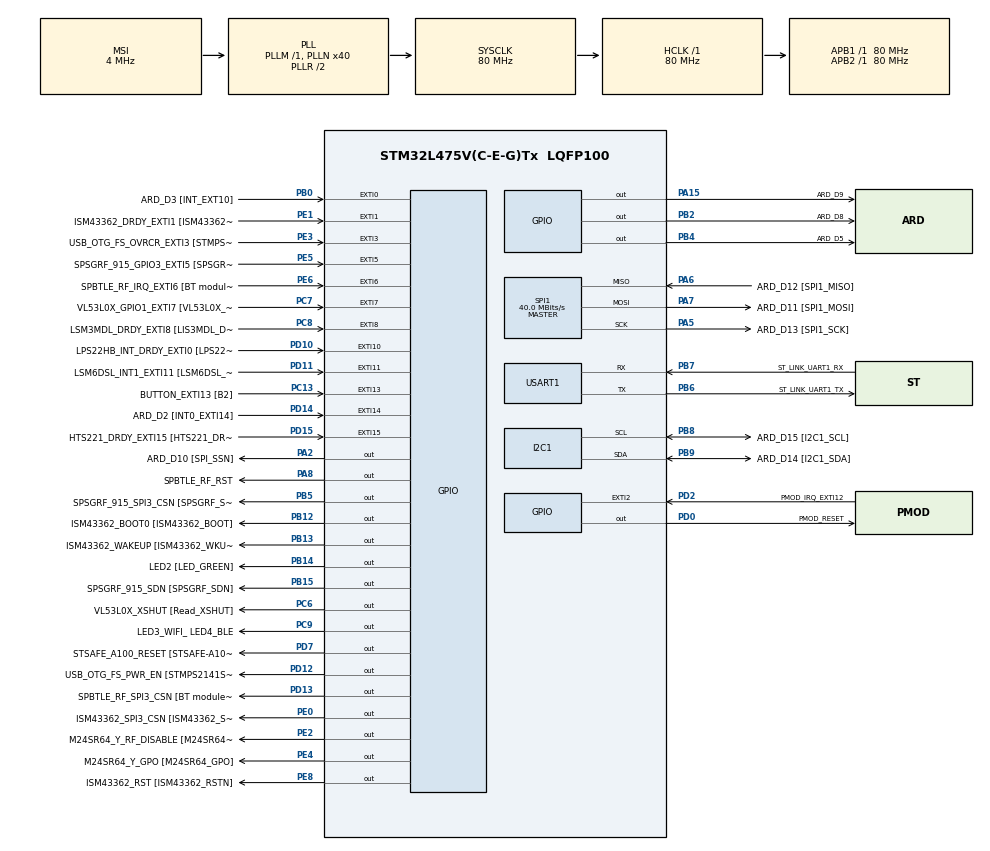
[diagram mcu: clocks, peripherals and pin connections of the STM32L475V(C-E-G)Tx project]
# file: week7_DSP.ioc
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I2C1.Timing=0x10D19CE4
Mcu.Family=STM32L4
Mcu.Name=STM32L475V(C-E-G)Tx
Mcu.Package=LQFP100
NVIC.EXTI15_10_IRQn=true\:0\:0\:false\:false\:true\:true\:true\:true
NVIC.EXTI9_5_IRQn=true\:0\:0\:false\:false\:true\:true\:true\:true
NVIC.PriorityGroup=NVIC_PRIORITYGROUP_4
PA0.GPIO_Label=ARD_D1 [UART4_TX]
PA0.Signal=UART4_TX
PA1.GPIO_Label=ARD_D0 [UART4_RX]
PA1.Signal=UART4_RX
PA10.GPIO_Label=USB_OTG_FS_ID
PA10.Signal=USB_OTG_FS_ID
PA11.GPIO_Label=USB_OTG_FS_DM
PA11.Signal=USB_OTG_FS_DM
PA12.GPIO_Label=USB_OTG_FS_DP
PA12.Signal=USB_OTG_FS_DP
PA13\ (JTMS-SWDIO).GPIO_Label=SYS_JTMS_SWDIO
PA13\ (JTMS-SWDIO).Signal=SYS_JTMS-SWDIO
PA14\ (JTCK-SWCLK).GPIO_Label=SYS_JTCK_SWCLK
PA14\ (JTCK-SWCLK).Signal=SYS_JTCK-SWCLK
PA15\ (JTDI).GPIO_Label=ARD_D9
PA15\ (JTDI).Signal=GPIO_Output
PA2.GPIO_Label=ARD_D10 [SPI_SSN]
PA2.Signal=GPIO_Output
PA3.GPIO_Label=ARD_D4
PA3.Signal=S_TIM2_CH4
PA4.GPIO_Label=ARD_D7
PA4.Signal=ADCx_IN9
PA5.GPIO_Label=ARD_D13 [SPI1_SCK]
PA5.Mode=Full_Duplex_Master
PA5.Signal=SPI1_SCK
PA6.GPIO_Label=ARD_D12 [SPI1_MISO]
PA6.Mode=Full_Duplex_Master
PA6.Signal=SPI1_MISO
PA7.GPIO_Label=ARD_D11 [SPI1_MOSI]
PA7.Mode=Full_Duplex_Master
PA7.Signal=SPI1_MOSI
PA8.GPIO_Label=SPBTLE_RF_RST
PA8.Signal=GPIO_Output
PA9.GPIO_Label=USB_OTG_FS_VBUS [STMPS2141STR_OUT]
PA9.Signal=USB_OTG_FS_VBUS
PB0.GPIO_Label=ARD_D3 [INT_EXT10]
PB0.Signal=GPXTI0
PB1.GPIO_Label=ARD_D6 [ADC1_IN6]
PB1.Signal=ADCx_IN16
PB10.GPIO_Label=INTERNAL_I2C2_SCL [VL53L0X_SCL]
PB10.Signal=I2C2_SCL
PB11.GPIO_Label=INTERNAL_I2C2_SDA [VL53L0X_SDA]
PB11.Signal=I2C2_SDA
PB12.GPIO_Label=ISM43362_BOOT0 [ISM43362_BOOT]
PB12.Signal=GPIO_Output
PB13.GPIO_Label=ISM43362_WAKEUP [ISM43362_WKUP]
PB13.Signal=GPIO_Output
PB14.GPIO_Label=LED2 [LED_GREEN]
PB14.Signal=GPIO_Output
PB15.GPIO_Label=SPSGRF_915_SDN [SPSGRF_SDN]
PB15.Signal=GPIO_Output
PB2.GPIO_Label=ARD_D8
PB2.Signal=GPIO_Output
PB3\ (JTDO-TRACESWO).GPIO_Label=SYS_JTD0_SWO
PB3\ (JTDO-TRACESWO).Signal=SYS_JTDO-SWO
PB4\ (NJTRST).GPIO_Label=ARD_D5
PB4\ (NJTRST).Signal=GPIO_Output
PB5.GPIO_Label=SPSGRF_915_SPI3_CSN [SPSGRF_SPI_CS]
PB5.PinState=GPIO_PIN_SET
PB5.Signal=GPIO_Output
PB6.GPIO_Label=ST_LINK_UART1_TX
PB6.Mode=Asynchronous
PB6.Signal=USART1_TX
PB7.GPIO_Label=ST_LINK_UART1_RX
PB7.Mode=Asynchronous
PB7.Signal=USART1_RX
PB8.GPIO_Label=ARD_D15 [I2C1_SCL]
PB8.Mode=I2C
PB8.Signal=I2C1_SCL
PB9.GPIO_Label=ARD_D14 [I2C1_SDA]
PB9.Mode=I2C
PB9.Signal=I2C1_SDA
PC0.GPIO_Label=ARD_A5 [ADC]
PC0.Signal=ADCx_IN1
PC1.GPIO_Label=ARD_A4 [ADC]
PC1.Signal=ADCx_IN2
PC10.GPIO_Label=INTERNAL_SPI3_SCK [BT module_SPI_SCLK] [ISM43362_SCK]
PC10.Signal=SPI3_SCK
PC11.GPIO_Label=INTERNAL_SPI3_MISO [BT module_SPI_MISO] [ISM43362_MISO]
PC11.Signal=SPI3_MISO
PC12.GPIO_Label=INTERNAL_SPI3_MOSI [BT module_SPI_MOSI] [ISM43362_MOSI]
PC12.Signal=SPI3_MOSI
PC13.GPIO_Label=BUTTON_EXTI13 [B2]
PC13.GPIO_ModeDefaultEXTI=GPIO_MODE_IT_FALLING
PC13.Signal=GPXTI13
PC14-OSC32_IN\ (PC14).Signal=RCC_OSC32_IN
PC15-OSC32_OUT\ (PC15).Signal=RCC_OSC32_OUT
PC2.GPIO_Label=ARD_A3 [ADC]
PC2.Signal=ADCx_IN3
PC3.GPIO_Label=ARD_A2 [ADC]
PC3.Signal=ADCx_IN4
PC4.GPIO_Label=ARD_A1 [ADC]
PC4.Signal=ADCx_IN13
PC5.GPIO_Label=ARD_A0 [ADC]
PC5.Signal=ADCx_IN14
PC6.GPIO_Label=VL53L0X_XSHUT [Read_XSHUT]
PC6.Signal=GPIO_Output
PC7.GPIO_Label=VL53L0X_GPIO1_EXTI7 [VL53L0X_GPIO1]
PC7.Signal=GPXTI7
PC8.GPIO_Label=LSM3MDL_DRDY_EXTI8 [LIS3MDL_DRDY]
PC8.Signal=GPXTI8
PC9.GPIO_Label=LED3_WIFI_ LED4_BLE
PC9.Signal=GPIO_Output
PD0.GPIO_Label=PMOD_RESET
PD0.Signal=GPIO_Output
PD1.GPIO_Label=PMOD_SPI2_SCK
PD1.Signal=SPI2_SCK
PD10.GPIO_Label=LPS22HB_INT_DRDY_EXTI0 [LPS22HB_INT_DRDY] 
PD10.Signal=GPXTI10
PD11.GPIO_Label=LSM6DSL_INT1_EXTI11 [LSM6DSL_INT1]
PD11.Signal=GPXTI11
PD12.GPIO_Label=USB_OTG_FS_PWR_EN [STMPS2141STR_EN]
PD12.Signal=GPIO_Output
PD13.GPIO_Label=SPBTLE_RF_SPI3_CSN [BT module_SPI_CS]
PD13.PinState=GPIO_PIN_SET
PD13.Signal=GPIO_Output
PD14.GPIO_Label=ARD_D2 [INT0_EXTI14]
PD14.Signal=GPXTI14
PD15.GPIO_Label=HTS221_DRDY_EXTI15 [HTS221_DRDY]
PD15.Signal=GPXTI15
PD2.GPIO_Label=PMOD_IRQ_EXTI12
PD2.Signal=GPXTI2
PD3.GPIO_Label=PMOD_UART2_CTS
PD3.Signal=USART2_CTS
PD4.GPIO_Label=PMOD_UART2_RTS
PD4.Signal=USART2_RTS
PD5.GPIO_Label=PMOD_UART2_TX
PD5.Signal=USART2_TX
PD6.GPIO_Label=PMOD_UART2_RX
PD6.Signal=USART2_RX
PD7.GPIO_Label=STSAFE_A100_RESET [STSAFE-A100_RESET]
PD7.Signal=GPIO_Output
PD8.GPIO_Label=INTERNAL_UART3_TX [ISM43362_RX]
PD8.Signal=USART3_TX
PD9.GPIO_Label=INTERNAL_UART3_RX [ISM43362_TX]
PD9.Signal=USART3_RX
PE0.GPIO_Label=ISM43362_SPI3_CSN [ISM43362_SSN]
PE0.PinState=GPIO_PIN_SET
PE0.Signal=GPIO_Output
PE1.GPIO_Label=ISM43362_DRDY_EXTI1 [ISM43362_DATARDY]
PE1.Signal=GPXTI1
PE10.GPIO_Label=QUADSPI_CLK [MX25R6435F_SCLK]
PE10.Signal=QUADSPI_CLK
PE11.GPIO_Label=QUADSPI_NCS [MX25R6435F_SCLK]
PE11.Signal=QUADSPI_NCS
PE12.GPIO_Label=OQUADSPI_BK1_IO0 [MX25R6435F_IO0]
PE12.Signal=QUADSPI_BK1_IO0
PE13.GPIO_Label=QUADSPI_BK1_IO1 [MX25R6435F_IO1]
PE13.Signal=QUADSPI_BK1_IO1
PE14.GPIO_Label=QUAD_SPI_BK1_IO2 [MX25R6435F_IO2]
PE14.Signal=QUADSPI_BK1_IO2
PE15.GPIO_Label=QUAD_SPI_BK1_IO3 [MX25R6435F_IO3]
PE15.Signal=QUADSPI_BK1_IO3
PE2.GPIO_Label=M24SR64_Y_RF_DISABLE [M24SR64_RFDIS]
PE2.Signal=GPIO_Output
PE3.GPIO_Label=USB_OTG_FS_OVRCR_EXTI3 [STMPS2141STR_FAULT]
PE3.Signal=GPXTI3
PE4.GPIO_Label=M24SR64_Y_GPO [M24SR64_GPO]
PE4.Signal=GPIO_Output
PE5.GPIO_Label=SPSGRF_915_GPIO3_EXTI5 [SPSGRF_GPIO_3]
PE5.Signal=GPXTI5
PE6.GPIO_Label=SPBTLE_RF_IRQ_EXTI6 [BT module_SPI_IRQ]
PE6.Signal=GPXTI6
PE7.GPIO_Label=DFSDM1_DATIN2 [MP34DT01_DOUT]
PE7.Signal=S_DATAIN2DFSDM1
PE8.GPIO_Label=ISM43362_RST [ISM43362_RSTN]
PE8.Signal=GPIO_Output
PE9.GPIO_Label=DFSDM1_CKOUT [MP34DT01_CLK]
PE9.Signal=S_CKOUTDFSDM1
ProjectManager.HeapSize=0x200
ProjectManager.StackSize=0x400
ProjectManager.TargetToolchain=STM32CubeIDE
RCC.ADCFreq_Value=48000000
RCC.AHBFreq_Value=80000000
RCC.APB1Freq_Value=80000000
RCC.APB1TimFreq_Value=80000000
RCC.APB2Freq_Value=80000000
RCC.APB2TimFreq_Value=80000000
RCC.CortexFreq_Value=80000000
RCC.HCLKFreq_Value=80000000
RCC.HSE_VALUE=8000000
RCC.HSI_VALUE=16000000
RCC.LSE_VALUE=32768
RCC.MSI_VALUE=4000000
RCC.PLLN=40
RCC.PLLSAI1N=24
RCC.SYSCLKFreq_VALUE=80000000
RCC.SYSCLKSource=RCC_SYSCLKSOURCE_PLLCLK
RCC.USBFreq_Value=48000000
RCC.VCOOutputFreq_Value=160000000
SH.ADCx_IN1.0=ADC1_IN1
SH.ADCx_IN13.0=ADC1_IN13
SH.ADCx_IN14.0=ADC1_IN14
SH.ADCx_IN16.0=ADC1_IN16
SH.ADCx_IN2.0=ADC1_IN2
SH.ADCx_IN3.0=ADC1_IN3
SH.ADCx_IN4.0=ADC1_IN4
SH.ADCx_IN9.0=ADC1_IN9
SH.S_CKOUTDFSDM1.0=DFSDM1_CKOUT
SH.S_DATAIN2DFSDM1.0=DFSDM1_DATIN2
SH.S_TIM2_CH4.0=TIM2_CH4
SPI1.CalculateBaudRate=40.0 MBits/s
SPI1.Direction=SPI_DIRECTION_2LINES
SPI1.Mode=SPI_MODE_MASTER
SPI1.VirtualType=VM_MASTER
USART1.VirtualMode-Asynchronous=VM_ASYNC
board=B-L475E-IOT01A2

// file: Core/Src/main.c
/* USER CODE BEGIN Header */
/**
  ******************************************************************************
  * @file           : main.c
  * @brief          : Main program body
  ******************************************************************************
  * @attention
  *
  * Copyright (c) 2025 STMicroelectronics.
  * All rights reserved.
  *
  * This software is licensed under terms that can be found in the LICENSE file
  * in the root directory of this software component.
  * If no LICENSE file comes with this software, it is provided AS-IS.
  *
  ******************************************************************************
  */
/* USER CODE END Header */
#include "main.h"

/* USER CODE BEGIN Includes */

#include "arm_math.h"
#include "math_helper.h"

/* USER CODE END Includes */

/* USER CODE BEGIN PD */

#define TEST_LENGTH_SAMPLES  320
#define SNR_THRESHOLD_F32    140.0f
#define BLOCK_SIZE            32
#define NUM_TAPS              29

/* USER CODE END PD */

I2C_HandleTypeDef hi2c1;

SPI_HandleTypeDef hspi1;

UART_HandleTypeDef huart1;

/* USER CODE BEGIN PV */

int16_t pDataXYZ[3];
float raw_data_buff[32];
float filtered_buff[32];
float raw_plot[512];
float filtered_plot[512];

/* -------------------------------------------------------------------
 * The input signal and reference output (computed with MATLAB)
 * are defined externally in arm_fir_lpf_data.c.
 * ------------------------------------------------------------------- */

extern float32_t testInput_f32_1kHz_15kHz[TEST_LENGTH_SAMPLES];
extern float32_t refOutput[TEST_LENGTH_SAMPLES];

/* -------------------------------------------------------------------
 * Declare Test output buffer
 * ------------------------------------------------------------------- */

static float32_t testOutput[TEST_LENGTH_SAMPLES];

/* -------------------------------------------------------------------
 * Declare State buffer of size (numTaps + blockSize - 1)
 * ------------------------------------------------------------------- */

static float32_t firStateF32[BLOCK_SIZE + NUM_TAPS - 1];

/* ----------------------------------------------------------------------
** FIR Coefficients buffer generated using fir1() MATLAB function.
** fir1(28, 6/24)
** ------------------------------------------------------------------- */

const float32_t firCoeffs32[NUM_TAPS] = {
  -0.0018225230f, -0.0015879294f, +0.0000000000f, +0.0036977508f, +0.0080754303f, +0.0085302217f, -0.0000000000f, -0.0173976984f,
  -0.0341458607f, -0.0333591565f, +0.0000000000f, +0.0676308395f, +0.1522061835f, +0.2229246956f, +0.2504960933f, +0.2229246956f,
  +0.1522061835f, +0.0676308395f, +0.0000000000f, -0.0333591565f, -0.0341458607f, -0.0173976984f, -0.0000000000f, +0.0085302217f,
  +0.0080754303f, +0.0036977508f, +0.0000000000f, -0.0015879294f, -0.0018225230f
};

/* ------------------------------------------------------------------
 * Global variables for FIR LPF Example
 * ------------------------------------------------------------------- */

uint32_t blockSize = BLOCK_SIZE;
uint32_t numBlocks = TEST_LENGTH_SAMPLES/BLOCK_SIZE;

float32_t  snr;
int plot_flag = 0;

/* USER CODE END PV */

void SystemClock_Config(void);
static void MX_GPIO_Init(void);
static void MX_USART1_UART_Init(void);
static void MX_I2C1_Init(void);
static void MX_SPI1_Init(void);
/* USER CODE BEGIN PFP */

int __io_putchar(int ch){
	HAL_UART_Transmit(&huart1, (uint8_t *)&ch, 1, 0xFFFF);
	return ch;
}

void arm_fir_init_f32(
		arm_fir_instance_f32 * S,
        uint16_t numTaps,
  const float32_t * pCoeffs,
        float32_t * pState,
        uint32_t blockSize)
{
  /* Assign filter taps */
  S->numTaps = numTaps;

  /* Assign coefficient pointer */
  S->pCoeffs = pCoeffs;

  /* Clear state buffer and the size of state buffer is (blockSize + numTaps - 1) */
  memset(pState, 0, (numTaps + (blockSize - 1u)) * sizeof(float32_t));

  /* Assign state pointer */
  S->pState = pState;

}

void arm_fir_f32(
		  const arm_fir_instance_f32 * S,
		  const float32_t * pSrc,
		        float32_t * pDst,
		        uint32_t blockSize)
{
   float32_t *pState = S->pState;                 /* State pointer */
   float32_t *pCoeffs = S->pCoeffs;               /* Coefficient pointer */
   float32_t *pStateCurnt;                        /* Points to the current sample of the state */
   float32_t *px, *pb;                            /* Temporary pointers for state and coefficient buffers */
   float32_t acc0, acc1, acc2, acc3, acc4, acc5, acc6, acc7;     /* Accumulators */
   float32_t x0, x1, x2, x3, x4, x5, x6, x7, c0;  /* Temporary variables to hold state and coefficient values */
   uint32_t numTaps = S->numTaps;                 /* Number of filter coefficients in the filter */
   uint32_t i, tapCnt, blkCnt;                    /* Loop counters */

   /* S->pState points to state array which contains previous frame (numTaps - 1) samples */
   /* pStateCurnt points to the location where the new input data should be written */
   pStateCurnt = &(S->pState[(numTaps - 1u)]);

   /* Apply loop unrolling and compute 8 output values simultaneously.
    * The variables acc0 ... acc7 hold output values that are being computed:
    *
    *    acc0 =  b[numTaps-1] * x[n-numTaps-1] + b[numTaps-2] * x[n-numTaps-2] + b[numTaps-3] * x[n-numTaps-3] +...+ b[0] * x[0]
    *    acc1 =  b[numTaps-1] * x[n-numTaps] +   b[numTaps-2] * x[n-numTaps-1] + b[numTaps-3] * x[n-numTaps-2] +...+ b[0] * x[1]
    *    acc2 =  b[numTaps-1] * x[n-numTaps+1] + b[numTaps-2] * x[n-numTaps] +   b[numTaps-3] * x[n-numTaps-1] +...+ b[0] * x[2]
    *    acc3 =  b[numTaps-1] * x[n-numTaps+2] + b[numTaps-2] * x[n-numTaps+1] + b[numTaps-3] * x[n-numTaps]   +...+ b[0] * x[3]
    */
   blkCnt = blockSize >> 3;

   /* First part of the processing with loop unrolling.  Compute 8 outputs at a time.
   ** a second loop below computes the remaining 1 to 7 samples. */
   while(blkCnt > 0u)
   {
      /* Copy four new input samples into the state buffer */
      *pStateCurnt++ = *pSrc++;
      *pStateCurnt++ = *pSrc++;
      *pStateCurnt++ = *pSrc++;
      *pStateCurnt++ = *pSrc++;

      /* Set all accumulators to zero */
      acc0 = 0.0f;
      acc1 = 0.0f;
      acc2 = 0.0f;
      acc3 = 0.0f;
      acc4 = 0.0f;
      acc5 = 0.0f;
      acc6 = 0.0f;
      acc7 = 0.0f;

      /* Initialize state pointer */
      px = pState;

      /* Initialize coeff pointer */
      pb = (pCoeffs);

      /* This is separated from the others to avoid
       * a call to __aeabi_memmove which would be slower
       */
      *pStateCurnt++ = *pSrc++;
      *pStateCurnt++ = *pSrc++;
      *pStateCurnt++ = *pSrc++;
      *pStateCurnt++ = *pSrc++;

      /* Read the first seven samples from the state buffer:  x[n-numTaps], x[n-numTaps-1], x[n-numTaps-2] */
      x0 = *px++;
      x1 = *px++;
      x2 = *px++;
      x3 = *px++;
      x4 = *px++;
      x5 = *px++;
      x6 = *px++;

      /* Loop unrolling.  Process 8 taps at a time. */
      tapCnt = numTaps >> 3u;

      /* Loop over the number of taps.  Unroll by a factor of 8.
       ** Repeat until we've computed numTaps-8 coefficients. */
      while(tapCnt > 0u)
      {
         /* Read the b[numTaps-1] coefficient */
         c0 = *(pb++);

         /* Read x[n-numTaps-3] sample */
         x7 = *(px++);

         /* acc0 +=  b[numTaps-1] * x[n-numTaps] */
         acc0 += x0 * c0;

         /* acc1 +=  b[numTaps-1] * x[n-numTaps-1] */
         acc1 += x1 * c0;

         /* acc2 +=  b[numTaps-1] * x[n-numTaps-2] */
         acc2 += x2 * c0;

         /* acc3 +=  b[numTaps-1] * x[n-numTaps-3] */
         acc3 += x3 * c0;

         /* acc4 +=  b[numTaps-1] * x[n-numTaps-4] */
         acc4 += x4 * c0;

         /* acc1 +=  b[numTaps-1] * x[n-numTaps-5] */
         acc5 += x5 * c0;

         /* acc2 +=  b[numTaps-1] * x[n-numTaps-6] */
         acc6 += x6 * c0;

         /* acc3 +=  b[numTaps-1] * x[n-numTaps-7] */
         acc7 += x7 * c0;

         /* Read the b[numTaps-2] coefficient */
         c0 = *(pb++);

         /* Read x[n-numTaps-4] sample */
         x0 = *(px++);

         /* Perform the multiply-accumulate */
         acc0 += x1 * c0;
         acc1 += x2 * c0;
         acc2 += x3 * c0;
         acc3 += x4 * c0;
         acc4 += x5 * c0;
         acc5 += x6 * c0;
         acc6 += x7 * c0;
         acc7 += x0 * c0;

         /* Read the b[numTaps-3] coefficient */
         c0 = *(pb++);

         /* Read x[n-numTaps-5] sample */
         x1 = *(px++);

         /* Perform the multiply-accumulates */
         acc0 += x2 * c0;
         acc1 += x3 * c0;
         acc2 += x4 * c0;
         acc3 += x5 * c0;
         acc4 += x6 * c0;
         acc5 += x7 * c0;
         acc6 += x0 * c0;
         acc7 += x1 * c0;

         /* Read the b[numTaps-4] coefficient */
         c0 = *(pb++);

         /* Read x[n-numTaps-6] sample */
         x2 = *(px++);

         /* Perform the multiply-accumulates */
         acc0 += x3 * c0;
         acc1 += x4 * c0;
         acc2 += x5 * c0;
         acc3 += x6 * c0;
         acc4 += x7 * c0;
         acc5 += x0 * c0;
         acc6 += x1 * c0;
         acc7 += x2 * c0;

         /* Read the b[numTaps-4] coefficient */
         c0 = *(pb++);

         /* Read x[n-numTaps-6] sample */
         x3 = *(px++);
         /* Perform the multiply-accumulates */
         acc0 += x4 * c0;
         acc1 += x5 * c0;
         acc2 += x6 * c0;
         acc3 += x7 * c0;
         acc4 += x0 * c0;
         acc5 += x1 * c0;
         acc6 += x2 * c0;
         acc7 += x3 * c0;

         /* Read the b[numTaps-4] coefficient */
         c0 = *(pb++);

         /* Read x[n-numTaps-6] sample */
         x4 = *(px++);

         /* Perform the multiply-accumulates */
         acc0 += x5 * c0;
         acc1 += x6 * c0;
         acc2 += x7 * c0;
         acc3 += x0 * c0;
         acc4 += x1 * c0;
         acc5 += x2 * c0;
         acc6 += x3 * c0;
         acc7 += x4 * c0;

         /* Read the b[numTaps-4] coefficient */
         c0 = *(pb++);

         /* Read x[n-numTaps-6] sample */
         x5 = *(px++);

         /* Perform the multiply-accumulates */
         acc0 += x6 * c0;
         acc1 += x7 * c0;
         acc2 += x0 * c0;
         acc3 += x1 * c0;
         acc4 += x2 * c0;
         acc5 += x3 * c0;
         acc6 += x4 * c0;
         acc7 += x5 * c0;

         /* Read the b[numTaps-4] coefficient */
         c0 = *(pb++);

         /* Read x[n-numTaps-6] sample */
         x6 = *(px++);

         /* Perform the multiply-accumulates */
         acc0 += x7 * c0;
         acc1 += x0 * c0;
         acc2 += x1 * c0;
         acc3 += x2 * c0;
         acc4 += x3 * c0;
         acc5 += x4 * c0;
         acc6 += x5 * c0;
         acc7 += x6 * c0;

         tapCnt--;
      }

      /* If the filter length is not a multiple of 8, compute the remaining filter taps */
      tapCnt = numTaps % 0x8u;

      while(tapCnt > 0u)
      {
         /* Read coefficients */
         c0 = *(pb++);

         /* Fetch 1 state variable */
         x7 = *(px++);

         /* Perform the multiply-accumulates */
         acc0 += x0 * c0;
         acc1 += x1 * c0;
         acc2 += x2 * c0;
         acc3 += x3 * c0;
         acc4 += x4 * c0;
         acc5 += x5 * c0;
         acc6 += x6 * c0;
         acc7 += x7 * c0;

         /* Reuse the present sample states for next sample */
         x0 = x1;
         x1 = x2;
         x2 = x3;
         x3 = x4;
         x4 = x5;
         x5 = x6;
         x6 = x7;

         /* Decrement the loop counter */
         tapCnt--;
      }

      /* Advance the state pointer by 8 to process the next group of 8 samples */
      pState = pState + 8;

      /* The results in the 8 accumulators, store in the destination buffer. */
      *pDst++ = acc0;
      *pDst++ = acc1;
      *pDst++ = acc2;
      *pDst++ = acc3;
      *pDst++ = acc4;
      *pDst++ = acc5;
      *pDst++ = acc6;
      *pDst++ = acc7;

      blkCnt--;
   }

   /* If the blockSize is not a multiple of 8, compute any remaining output samples here.
   ** No loop unrolling is used. */
   blkCnt = blockSize % 0x8u;

   while(blkCnt > 0u)
   {
      /* Copy one sample at a time into state buffer */
      *pStateCurnt++ = *pSrc++;

      /* Set the accumulator to zero */
      acc0 = 0.0f;

      /* Initialize state pointer */
      px = pState;

      /* Initialize Coefficient pointer */
      pb = (pCoeffs);

      i = numTaps;

      /* Perform the multiply-accumulates */
      do
      {
         acc0 += *px++ * *pb++;
         i--;

      } while(i > 0u);

      /* The result is store in the destination buffer. */
      *pDst++ = acc0;

      /* Advance state pointer by 1 for the next sample */
      pState = pState + 1;

      blkCnt--;
   }

   /* Processing is complete.
   ** Now copy the last numTaps - 1 samples to the start of the state buffer.
   ** This prepares the state buffer for the next function call. */

   /* Points to the start of the state buffer */
   pStateCurnt = S->pState;

   tapCnt = (numTaps - 1u) >> 2u;

   /* copy data */
   while(tapCnt > 0u)
   {
      *pStateCurnt++ = *pState++;
      *pStateCurnt++ = *pState++;
      *pStateCurnt++ = *pState++;
      *pStateCurnt++ = *pState++;

      /* Decrement the loop counter */
      tapCnt--;
   }

   /* Calculate remaining number of copies */
   tapCnt = (numTaps - 1u) % 0x4u;

   /* Copy the remaining q31_t data */
   while(tapCnt > 0u)
   {
      *pStateCurnt++ = *pState++;

      /* Decrement the loop counter */
      tapCnt--;
   }
}

/* USER CODE END PFP */

/* USER CODE BEGIN 0 */
int state = 2;
/* USER CODE END 0 */

int main(void)
{

  /* MCU Configuration--------------------------------------------------------*/

  /* Reset of all peripherals, Initializes the Flash interface and the Systick. */
  HAL_Init();

  /* Configure the system clock */
  SystemClock_Config();

  /* Initialize all configured peripherals */
  MX_GPIO_Init();
  MX_USART1_UART_Init();
  MX_I2C1_Init();
  MX_SPI1_Init();
  /* USER CODE BEGIN 2 */
  uint32_t i;
  arm_fir_instance_f32 S;
  arm_status status;
  float32_t  *inputF32, *outputF32;

  /* Initialize input and output buffer pointers */
  inputF32 = &testInput_f32_1kHz_15kHz[0];
  outputF32 = &testOutput[0];

  /* Call FIR init function to initialize the instance structure. */
  arm_fir_init_f32(&S, NUM_TAPS, (float32_t *)&firCoeffs32[0], &firStateF32[0], blockSize);

    /* ----------------------------------------------------------------------
    ** Call the FIR process function for every blockSize samples
    ** ------------------------------------------------------------------- */

  for(i=0; i < numBlocks; i++)
  {
    arm_fir_f32(&S, inputF32 + (i * blockSize), outputF32 + (i * blockSize), blockSize);
  }

  /* ----------------------------------------------------------------------
  ** Compare the generated output against the reference output computed
  ** in MATLAB.
  ** ------------------------------------------------------------------- */

  snr = arm_snr_f32(&refOutput[0], &testOutput[0], TEST_LENGTH_SAMPLES);

  if (snr < SNR_THRESHOLD_F32)
  {
    status = ARM_MATH_TEST_FAILURE;
  }
  else
  {
    status = ARM_MATH_SUCCESS;
  }
  if(status == ARM_MATH_SUCCESS) {
	  state = 0;
	  printf("success\n");
  }
  else {
	  state = 1;
	  printf("failed\n");
  }

  BSP_ACCELERO_Init();

  /* USER CODE END 2 */

  /* Infinite loop */
  while (1)
  {

    /* USER CODE BEGIN 3 */
	  for(int i = 0; i < 32; ++i){
		  BSP_ACCELERO_AccGetXYZ(pDataXYZ);
		  raw_data_buff[i] = pDataXYZ[0];
		  HAL_Delay(100);
	  }
//	  BSP_ACCELERO_AccGetXYZ(pDataXYZ);
//	  printf("HI\n");
	  arm_fir_f32(&S, raw_data_buff, filtered_buff, blockSize);
	  if(plot_flag < 16){
		  for(int j = 0; j<32; ++j){
			  raw_plot[plot_flag * 32 + j] = raw_data_buff[j];
			  filtered_plot[plot_flag * 32 + j] = filtered_buff[j];
		  }
		  ++plot_flag;
	  }

//	  HAL_Delay(100);
  }
  /* USER CODE END 3 */
}

void SystemClock_Config(void)
{
  RCC_OscInitTypeDef RCC_OscInitStruct = {0};
  RCC_ClkInitTypeDef RCC_ClkInitStruct = {0};

  /** Configure the main internal regulator output voltage
  */
  if (HAL_PWREx_ControlVoltageScaling(PWR_REGULATOR_VOLTAGE_SCALE1) != HAL_OK)
  {
    Error_Handler();
  }

  /** Initializes the RCC Oscillators according to the specified parameters
  * in the RCC_OscInitTypeDef structure.
  */
  RCC_OscInitStruct.OscillatorType = RCC_OSCILLATORTYPE_MSI;
  RCC_OscInitStruct.MSIState = RCC_MSI_ON;
  RCC_OscInitStruct.MSICalibrationValue = 0;
  RCC_OscInitStruct.MSIClockRange = RCC_MSIRANGE_6;
  RCC_OscInitStruct.PLL.PLLState = RCC_PLL_ON;
  RCC_OscInitStruct.PLL.PLLSource = RCC_PLLSOURCE_MSI;
  RCC_OscInitStruct.PLL.PLLM = 1;
  RCC_OscInitStruct.PLL.PLLN = 40;
  RCC_OscInitStruct.PLL.PLLP = RCC_PLLP_DIV7;
  RCC_OscInitStruct.PLL.PLLQ = RCC_PLLQ_DIV2;
  RCC_OscInitStruct.PLL.PLLR = RCC_PLLR_DIV2;
  if (HAL_RCC_OscConfig(&RCC_OscInitStruct) != HAL_OK)
  {
    Error_Handler();
  }

  /** Initializes the CPU, AHB and APB buses clocks
  */
  RCC_ClkInitStruct.ClockType = RCC_CLOCKTYPE_HCLK|RCC_CLOCKTYPE_SYSCLK
                              |RCC_CLOCKTYPE_PCLK1|RCC_CLOCKTYPE_PCLK2;
  RCC_ClkInitStruct.SYSCLKSource = RCC_SYSCLKSOURCE_PLLCLK;
  RCC_ClkInitStruct.AHBCLKDivider = RCC_SYSCLK_DIV1;
  RCC_ClkInitStruct.APB1CLKDivider = RCC_HCLK_DIV1;
  RCC_ClkInitStruct.APB2CLKDivider = RCC_HCLK_DIV1;

  if (HAL_RCC_ClockConfig(&RCC_ClkInitStruct, FLASH_LATENCY_4) != HAL_OK)
  {
    Error_Handler();
  }
}

static void MX_I2C1_Init(void)
{

  hi2c1.Instance = I2C1;
  hi2c1.Init.Timing = 0x10D19CE4;
  hi2c1.Init.OwnAddress1 = 0;
  hi2c1.Init.AddressingMode = I2C_ADDRESSINGMODE_7BIT;
  hi2c1.Init.DualAddressMode = I2C_DUALADDRESS_DISABLE;
  hi2c1.Init.OwnAddress2 = 0;
  hi2c1.Init.OwnAddress2Masks = I2C_OA2_NOMASK;
  hi2c1.Init.GeneralCallMode = I2C_GENERALCALL_DISABLE;
  hi2c1.Init.NoStretchMode = I2C_NOSTRETCH_DISABLE;
  if (HAL_I2C_Init(&hi2c1) != HAL_OK)
  {
    Error_Handler();
  }

  /** Configure Analogue filter
  */
  if (HAL_I2CEx_ConfigAnalogFilter(&hi2c1, I2C_ANALOGFILTER_ENABLE) != HAL_OK)
  {
    Error_Handler();
  }

  /** Configure Digital filter
  */
  if (HAL_I2CEx_ConfigDigitalFilter(&hi2c1, 0) != HAL_OK)
  {
    Error_Handler();
  }

}

static void MX_SPI1_Init(void)
{

  /* SPI1 parameter configuration*/
  hspi1.Instance = SPI1;
  hspi1.Init.Mode = SPI_MODE_MASTER;
  hspi1.Init.Direction = SPI_DIRECTION_2LINES;
  hspi1.Init.DataSize = SPI_DATASIZE_4BIT;
  hspi1.Init.CLKPolarity = SPI_POLARITY_LOW;
  hspi1.Init.CLKPhase = SPI_PHASE_1EDGE;
  hspi1.Init.NSS = SPI_NSS_SOFT;
  hspi1.Init.BaudRatePrescaler = SPI_BAUDRATEPRESCALER_2;
  hspi1.Init.FirstBit = SPI_FIRSTBIT_MSB;
  hspi1.Init.TIMode = SPI_TIMODE_DISABLE;
  hspi1.Init.CRCCalculation = SPI_CRCCALCULATION_DISABLE;
  hspi1.Init.CRCPolynomial = 7;
  hspi1.Init.CRCLength = SPI_CRC_LENGTH_DATASIZE;
  hspi1.Init.NSSPMode = SPI_NSS_PULSE_ENABLE;
  if (HAL_SPI_Init(&hspi1) != HAL_OK)
  {
    Error_Handler();
  }

}

static void MX_USART1_UART_Init(void)
{

  huart1.Instance = USART1;
  huart1.Init.BaudRate = 115200;
  huart1.Init.WordLength = UART_WORDLENGTH_8B;
  huart1.Init.StopBits = UART_STOPBITS_1;
  huart1.Init.Parity = UART_PARITY_NONE;
  huart1.Init.Mode = UART_MODE_TX_RX;
  huart1.Init.HwFlowCtl = UART_HWCONTROL_NONE;
  huart1.Init.OverSampling = UART_OVERSAMPLING_16;
  huart1.Init.OneBitSampling = UART_ONE_BIT_SAMPLE_DISABLE;
  huart1.AdvancedInit.AdvFeatureInit = UART_ADVFEATURE_NO_INIT;
  if (HAL_UART_Init(&huart1) != HAL_OK)
  {
    Error_Handler();
  }

}

static void MX_GPIO_Init(void)
{
  GPIO_InitTypeDef GPIO_InitStruct = {0};

  /* GPIO Ports Clock Enable */
  __HAL_RCC_GPIOE_CLK_ENABLE();
  __HAL_RCC_GPIOC_CLK_ENABLE();
  __HAL_RCC_GPIOA_CLK_ENABLE();
  __HAL_RCC_GPIOB_CLK_ENABLE();
  __HAL_RCC_GPIOD_CLK_ENABLE();

  /*Configure GPIO pin Output Level */
  HAL_GPIO_WritePin(GPIOE, M24SR64_Y_RF_DISABLE_Pin|M24SR64_Y_GPO_Pin|ISM43362_RST_Pin, GPIO_PIN_RESET);

  /*Configure GPIO pin Output Level */
  HAL_GPIO_WritePin(GPIOA, ARD_D10_Pin|SPBTLE_RF_RST_Pin|ARD_D9_Pin, GPIO_PIN_RESET);

  /*Configure GPIO pin Output Level */
  HAL_GPIO_WritePin(GPIOB, ARD_D8_Pin|ISM43362_BOOT0_Pin|ISM43362_WAKEUP_Pin|LED2_Pin
                          |SPSGRF_915_SDN_Pin|ARD_D5_Pin, GPIO_PIN_RESET);

  /*Configure GPIO pin Output Level */
  HAL_GPIO_WritePin(GPIOD, USB_OTG_FS_PWR_EN_Pin|PMOD_RESET_Pin|STSAFE_A100_RESET_Pin, GPIO_PIN_RESET);

  /*Configure GPIO pin Output Level */
  HAL_GPIO_WritePin(SPBTLE_RF_SPI3_CSN_GPIO_Port, SPBTLE_RF_SPI3_CSN_Pin, GPIO_PIN_SET);

  /*Configure GPIO pin Output Level */
  HAL_GPIO_WritePin(GPIOC, VL53L0X_XSHUT_Pin|LED3_WIFI__LED4_BLE_Pin, GPIO_PIN_RESET);

  /*Configure GPIO pin Output Level */
  HAL_GPIO_WritePin(SPSGRF_915_SPI3_CSN_GPIO_Port, SPSGRF_915_SPI3_CSN_Pin, GPIO_PIN_SET);

  /*Configure GPIO pin Output Level */
  HAL_GPIO_WritePin(ISM43362_SPI3_CSN_GPIO_Port, ISM43362_SPI3_CSN_Pin, GPIO_PIN_SET);

  /*Configure GPIO pins : M24SR64_Y_RF_DISABLE_Pin M24SR64_Y_GPO_Pin ISM43362_RST_Pin ISM43362_SPI3_CSN_Pin */
  GPIO_InitStruct.Pin = M24SR64_Y_RF_DISABLE_Pin|M24SR64_Y_GPO_Pin|ISM43362_RST_Pin|ISM43362_SPI3_CSN_Pin;
  GPIO_InitStruct.Mode = GPIO_MODE_OUTPUT_PP;
  GPIO_InitStruct.Pull = GPIO_NOPULL;
  GPIO_InitStruct.Speed = GPIO_SPEED_FREQ_LOW;
  HAL_GPIO_Init(GPIOE, &GPIO_InitStruct);

  /*Configure GPIO pins : USB_OTG_FS_OVRCR_EXTI3_Pin SPSGRF_915_GPIO3_EXTI5_Pin SPBTLE_RF_IRQ_EXTI6_Pin ISM43362_DRDY_EXTI1_Pin */
  GPIO_InitStruct.Pin = USB_OTG_FS_OVRCR_EXTI3_Pin|SPSGRF_915_GPIO3_EXTI5_Pin|SPBTLE_RF_IRQ_EXTI6_Pin|ISM43362_DRDY_EXTI1_Pin;
  GPIO_InitStruct.Mode = GPIO_MODE_IT_RISING;
  GPIO_InitStruct.Pull = GPIO_NOPULL;
  HAL_GPIO_Init(GPIOE, &GPIO_InitStruct);

  /*Configure GPIO pin : BUTTON_EXTI13_Pin */
  GPIO_InitStruct.Pin = BUTTON_EXTI13_Pin;
  GPIO_InitStruct.Mode = GPIO_MODE_IT_FALLING;
  GPIO_InitStruct.Pull = GPIO_NOPULL;
  HAL_GPIO_Init(BUTTON_EXTI13_GPIO_Port, &GPIO_InitStruct);

  /*Configure GPIO pins : ARD_A5_Pin ARD_A4_Pin ARD_A3_Pin ARD_A2_Pin
                           ARD_A1_Pin ARD_A0_Pin */
  GPIO_InitStruct.Pin = ARD_A5_Pin|ARD_A4_Pin|ARD_A3_Pin|ARD_A2_Pin
                          |ARD_A1_Pin|ARD_A0_Pin;
  GPIO_InitStruct.Mode = GPIO_MODE_ANALOG_ADC_CONTROL;
  GPIO_InitStruct.Pull = GPIO_NOPULL;
  HAL_GPIO_Init(GPIOC, &GPIO_InitStruct);

  /*Configure GPIO pins : ARD_D1_Pin ARD_D0_Pin */
  GPIO_InitStruct.Pin = ARD_D1_Pin|ARD_D0_Pin;
  GPIO_InitStruct.Mode = GPIO_MODE_AF_PP;
  GPIO_InitStruct.Pull = GPIO_NOPULL;
  GPIO_InitStruct.Speed = GPIO_SPEED_FREQ_VERY_HIGH;
  GPIO_InitStruct.Alternate = GPIO_AF8_UART4;
  HAL_GPIO_Init(GPIOA, &GPIO_InitStruct);

  /*Configure GPIO pins : ARD_D10_Pin SPBTLE_RF_RST_Pin ARD_D9_Pin */
  GPIO_InitStruct.Pin = ARD_D10_Pin|SPBTLE_RF_RST_Pin|ARD_D9_Pin;
  GPIO_InitStruct.Mode = GPIO_MODE_OUTPUT_PP;
  GPIO_InitStruct.Pull = GPIO_NOPULL;
  GPIO_InitStruct.Speed = GPIO_SPEED_FREQ_LOW;
  HAL_GPIO_Init(GPIOA, &GPIO_InitStruct);

  /*Configure GPIO pin : ARD_D4_Pin */
  GPIO_InitStruct.Pin = ARD_D4_Pin;
  GPIO_InitStruct.Mode = GPIO_MODE_AF_PP;
  GPIO_InitStruct.Pull = GPIO_NOPULL;
  GPIO_InitStruct.Speed = GPIO_SPEED_FREQ_LOW;
  GPIO_InitStruct.Alternate = GPIO_AF1_TIM2;
  HAL_GPIO_Init(ARD_D4_GPIO_Port, &GPIO_InitStruct);

  /*Configure GPIO pin : ARD_D7_Pin */
  GPIO_InitStruct.Pin = ARD_D7_Pin;
  GPIO_InitStruct.Mode = GPIO_MODE_ANALOG_ADC_CONTROL;
  GPIO_InitStruct.Pull = GPIO_NOPULL;
  HAL_GPIO_Init(ARD_D7_GPIO_Port, &GPIO_InitStruct);

  /*Configure GPIO pin : ARD_D3_Pin */
  GPIO_InitStruct.Pin = ARD_D3_Pin;
  GPIO_InitStruct.Mode = GPIO_MODE_IT_RISING;
  GPIO_InitStruct.Pull = GPIO_NOPULL;
  HAL_GPIO_Init(ARD_D3_GPIO_Port, &GPIO_InitStruct);

  /*Configure GPIO pin : ARD_D6_Pin */
  GPIO_InitStruct.Pin = ARD_D6_Pin;
  GPIO_InitStruct.Mode = GPIO_MODE_ANALOG_ADC_CONTROL;
  GPIO_InitStruct.Pull = GPIO_NOPULL;
  HAL_GPIO_Init(ARD_D6_GPIO_Port, &GPIO_InitStruct);

  /*Configure GPIO pins : ARD_D8_Pin ISM43362_BOOT0_Pin ISM43362_WAKEUP_Pin LED2_Pin
                           SPSGRF_915_SDN_Pin ARD_D5_Pin SPSGRF_915_SPI3_CSN_Pin */
  GPIO_InitStruct.Pin = ARD_D8_Pin|ISM43362_BOOT0_Pin|ISM43362_WAKEUP_Pin|LED2_Pin
                          |SPSGRF_915_SDN_Pin|ARD_D5_Pin|SPSGRF_915_SPI3_CSN_Pin;
  GPIO_InitStruct.Mode = GPIO_MODE_OUTPUT_PP;
  GPIO_InitStruct.Pull = GPIO_NOPULL;
  GPIO_InitStruct.Speed = GPIO_SPEED_FREQ_LOW;
  HAL_GPIO_Init(GPIOB, &GPIO_InitStruct);

  /*Configure GPIO pins : DFSDM1_DATIN2_Pin DFSDM1_CKOUT_Pin */
  GPIO_InitStruct.Pin = DFSDM1_DATIN2_Pin|DFSDM1_CKOUT_Pin;
  GPIO_InitStruct.Mode = GPIO_MODE_AF_PP;
  GPIO_InitStruct.Pull = GPIO_NOPULL;
  GPIO_InitStruct.Speed = GPIO_SPEED_FREQ_LOW;
  GPIO_InitStruct.Alternate = GPIO_AF6_DFSDM1;
  HAL_GPIO_Init(GPIOE, &GPIO_InitStruct);

  /*Configure GPIO pins : QUADSPI_CLK_Pin QUADSPI_NCS_Pin OQUADSPI_BK1_IO0_Pin QUADSPI_BK1_IO1_Pin
                           QUAD_SPI_BK1_IO2_Pin QUAD_SPI_BK1_IO3_Pin */
  GPIO_InitStruct.Pin = QUADSPI_CLK_Pin|QUADSPI_NCS_Pin|OQUADSPI_BK1_IO0_Pin|QUADSPI_BK1_IO1_Pin
                          |QUAD_SPI_BK1_IO2_Pin|QUAD_SPI_BK1_IO3_Pin;
  GPIO_InitStruct.Mode = GPIO_MODE_AF_PP;
  GPIO_InitStruct.Pull = GPIO_NOPULL;
  GPIO_InitStruct.Speed = GPIO_SPEED_FREQ_VERY_HIGH;
  GPIO_InitStruct.Alternate = GPIO_AF10_QUADSPI;
  HAL_GPIO_Init(GPIOE, &GPIO_InitStruct);

  /*Configure GPIO pins : INTERNAL_I2C2_SCL_Pin INTERNAL_I2C2_SDA_Pin */
  GPIO_InitStruct.Pin = INTERNAL_I2C2_SCL_Pin|INTERNAL_I2C2_SDA_Pin;
  GPIO_InitStruct.Mode = GPIO_MODE_AF_OD;
  GPIO_InitStruct.Pull = GPIO_NOPULL;
  GPIO_InitStruct.Speed = GPIO_SPEED_FREQ_VERY_HIGH;
  GPIO_InitStruct.Alternate = GPIO_AF4_I2C2;
  HAL_GPIO_Init(GPIOB, &GPIO_InitStruct);

  /*Configure GPIO pins : INTERNAL_UART3_TX_Pin INTERNAL_UART3_RX_Pin */
  GPIO_InitStruct.Pin = INTERNAL_UART3_TX_Pin|INTERNAL_UART3_RX_Pin;
  GPIO_InitStruct.Mode = GPIO_MODE_AF_PP;
  GPIO_InitStruct.Pull = GPIO_NOPULL;
  GPIO_InitStruct.Speed = GPIO_SPEED_FREQ_VERY_HIGH;
  GPIO_InitStruct.Alternate = GPIO_AF7_USART3;
  HAL_GPIO_Init(GPIOD, &GPIO_InitStruct);

  /*Configure GPIO pins : LPS22HB_INT_DRDY_EXTI0_Pin LSM6DSL_INT1_EXTI11_Pin ARD_D2_Pin HTS221_DRDY_EXTI15_Pin
                           PMOD_IRQ_EXTI12_Pin */
  GPIO_InitStruct.Pin = LPS22HB_INT_DRDY_EXTI0_Pin|LSM6DSL_INT1_EXTI11_Pin|ARD_D2_Pin|HTS221_DRDY_EXTI15_Pin
                          |PMOD_IRQ_EXTI12_Pin;
  GPIO_InitStruct.Mode = GPIO_MODE_IT_RISING;
  GPIO_InitStruct.Pull = GPIO_NOPULL;
  HAL_GPIO_Init(GPIOD, &GPIO_InitStruct);

  /*Configure GPIO pins : USB_OTG_FS_PWR_EN_Pin SPBTLE_RF_SPI3_CSN_Pin PMOD_RESET_Pin STSAFE_A100_RESET_Pin */
  GPIO_InitStruct.Pin = USB_OTG_FS_PWR_EN_Pin|SPBTLE_RF_SPI3_CSN_Pin|PMOD_RESET_Pin|STSAFE_A100_RESET_Pin;
  GPIO_InitStruct.Mode = GPIO_MODE_OUTPUT_PP;
  GPIO_InitStruct.Pull = GPIO_NOPULL;
  GPIO_InitStruct.Speed = GPIO_SPEED_FREQ_LOW;
  HAL_GPIO_Init(GPIOD, &GPIO_InitStruct);

  /*Configure GPIO pins : VL53L0X_XSHUT_Pin LED3_WIFI__LED4_BLE_Pin */
  GPIO_InitStruct.Pin = VL53L0X_XSHUT_Pin|LED3_WIFI__LED4_BLE_Pin;
  GPIO_InitStruct.Mode = GPIO_MODE_OUTPUT_PP;
  GPIO_InitStruct.Pull = GPIO_NOPULL;
  GPIO_InitStruct.Speed = GPIO_SPEED_FREQ_LOW;
  HAL_GPIO_Init(GPIOC, &GPIO_InitStruct);

  /*Configure GPIO pins : VL53L0X_GPIO1_EXTI7_Pin LSM3MDL_DRDY_EXTI8_Pin */
  GPIO_InitStruct.Pin = VL53L0X_GPIO1_EXTI7_Pin|LSM3MDL_DRDY_EXTI8_Pin;
  GPIO_InitStruct.Mode = GPIO_MODE_IT_RISING;
  GPIO_InitStruct.Pull = GPIO_NOPULL;
  HAL_GPIO_Init(GPIOC, &GPIO_InitStruct);

  /*Configure GPIO pin : USB_OTG_FS_VBUS_Pin */
  GPIO_InitStruct.Pin = USB_OTG_FS_VBUS_Pin;
  GPIO_InitStruct.Mode = GPIO_MODE_INPUT;
  GPIO_InitStruct.Pull = GPIO_NOPULL;
  HAL_GPIO_Init(USB_OTG_FS_VBUS_GPIO_Port, &GPIO_InitStruct);

  /*Configure GPIO pins : USB_OTG_FS_ID_Pin USB_OTG_FS_DM_Pin USB_OTG_FS_DP_Pin */
  GPIO_InitStruct.Pin = USB_OTG_FS_ID_Pin|USB_OTG_FS_DM_Pin|USB_OTG_FS_DP_Pin;
  GPIO_InitStruct.Mode = GPIO_MODE_AF_PP;
  GPIO_InitStruct.Pull = GPIO_NOPULL;
  GPIO_InitStruct.Speed = GPIO_SPEED_FREQ_VERY_HIGH;
  GPIO_InitStruct.Alternate = GPIO_AF10_OTG_FS;
  HAL_GPIO_Init(GPIOA, &GPIO_InitStruct);

  /*Configure GPIO pins : INTERNAL_SPI3_SCK_Pin INTERNAL_SPI3_MISO_Pin INTERNAL_SPI3_MOSI_Pin */
  GPIO_InitStruct.Pin = INTERNAL_SPI3_SCK_Pin|INTERNAL_SPI3_MISO_Pin|INTERNAL_SPI3_MOSI_Pin;
  GPIO_InitStruct.Mode = GPIO_MODE_AF_PP;
  GPIO_InitStruct.Pull = GPIO_NOPULL;
  GPIO_InitStruct.Speed = GPIO_SPEED_FREQ_VERY_HIGH;
  GPIO_InitStruct.Alternate = GPIO_AF6_SPI3;
  HAL_GPIO_Init(GPIOC, &GPIO_InitStruct);

  /*Configure GPIO pin : PMOD_SPI2_SCK_Pin */
  GPIO_InitStruct.Pin = PMOD_SPI2_SCK_Pin;
  GPIO_InitStruct.Mode = GPIO_MODE_AF_PP;
  GPIO_InitStruct.Pull = GPIO_NOPULL;
  GPIO_InitStruct.Speed = GPIO_SPEED_FREQ_VERY_HIGH;
  GPIO_InitStruct.Alternate = GPIO_AF5_SPI2;
  HAL_GPIO_Init(PMOD_SPI2_SCK_GPIO_Port, &GPIO_InitStruct);

  /*Configure GPIO pins : PMOD_UART2_CTS_Pin PMOD_UART2_RTS_Pin PMOD_UART2_TX_Pin PMOD_UART2_RX_Pin */
  GPIO_InitStruct.Pin = PMOD_UART2_CTS_Pin|PMOD_UART2_RTS_Pin|PMOD_UART2_TX_Pin|PMOD_UART2_RX_Pin;
  GPIO_InitStruct.Mode = GPIO_MODE_AF_PP;
  GPIO_InitStruct.Pull = GPIO_NOPULL;
  GPIO_InitStruct.Speed = GPIO_SPEED_FREQ_VERY_HIGH;
  GPIO_InitStruct.Alternate = GPIO_AF7_USART2;
  HAL_GPIO_Init(GPIOD, &GPIO_InitStruct);

  /* EXTI interrupt init*/
  HAL_NVIC_SetPriority(EXTI9_5_IRQn, 0, 0);
  HAL_NVIC_EnableIRQ(EXTI9_5_IRQn);

  HAL_NVIC_SetPriority(EXTI15_10_IRQn, 0, 0);
  HAL_NVIC_EnableIRQ(EXTI15_10_IRQn);

}

void Error_Handler(void)
{
  __disable_irq();
  while (1)
  {
  }
}
